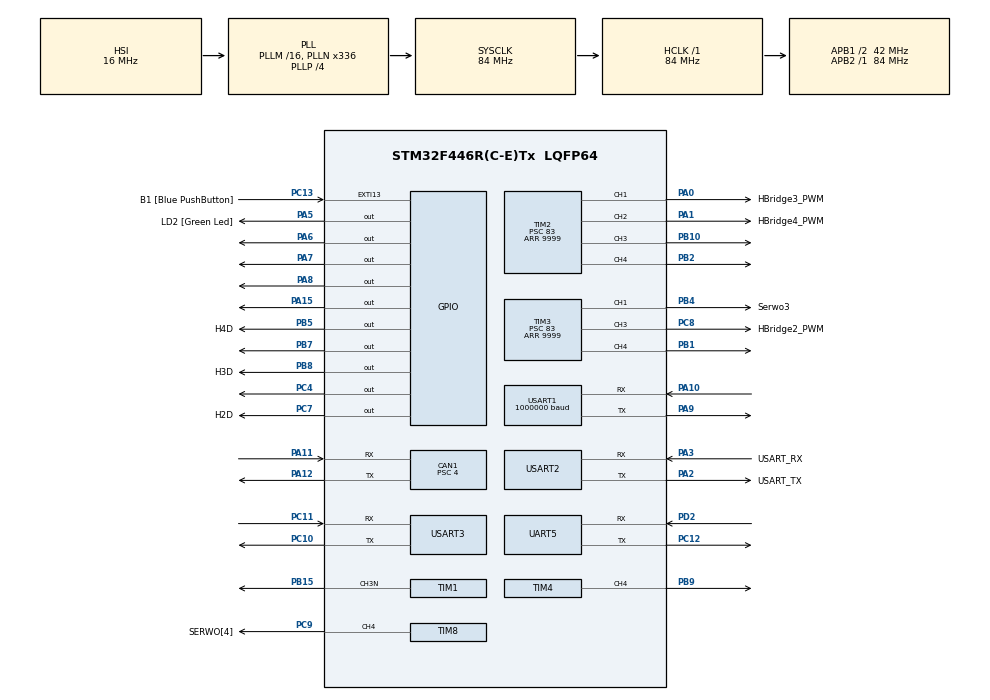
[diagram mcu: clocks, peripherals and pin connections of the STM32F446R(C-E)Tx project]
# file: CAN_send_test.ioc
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CAN1.BS1=CAN_BS1_14TQ
CAN1.BS2=CAN_BS2_6TQ
CAN1.CalculateBaudRate=500000
CAN1.CalculateTimeBit=2000
CAN1.CalculateTimeQuantum=95.23809523809524
CAN1.Mode=CAN_MODE_NORMAL
CAN1.NART=ENABLE
CAN1.Prescaler=4
Mcu.Family=STM32F4
Mcu.Name=STM32F446R(C-E)Tx
Mcu.Package=LQFP64
NVIC.CAN1_RX0_IRQn=true\:0\:0\:false\:false\:true\:true\:true\:true
NVIC.PriorityGroup=NVIC_PRIORITYGROUP_0
NVIC.TIM8_TRG_COM_TIM14_IRQn=true\:0\:0\:false\:false\:true\:true\:true\:true
PA0-WKUP.GPIO_Label=HBridge3_PWM
PA0-WKUP.Signal=S_TIM2_CH1_ETR
PA1.GPIO_Label=HBridge4_PWM
PA1.Signal=S_TIM2_CH2
PA10.Mode=Asynchronous
PA10.Signal=USART1_RX
PA11.Mode=CAN_Activate
PA11.Signal=CAN1_RX
PA12.Mode=CAN_Activate
PA12.Signal=CAN1_TX
PA13.GPIO_Label=TMS
PA13.Mode=Serial_Wire
PA13.Signal=SYS_JTMS-SWDIO
PA14.GPIO_Label=TCK
PA14.Mode=Serial_Wire
PA14.Signal=SYS_JTCK-SWCLK
PA15.Signal=GPIO_Output
PA2.GPIO_Label=USART_TX
PA2.Mode=Asynchronous
PA2.Signal=USART2_TX
PA3.GPIO_Label=USART_RX
PA3.Mode=Asynchronous
PA3.Signal=USART2_RX
PA5.GPIO_Label=LD2 [Green Led]
PA5.Signal=GPIO_Output
PA6.Signal=GPIO_Output
PA7.Signal=GPIO_Output
PA8.Signal=GPIO_Output
PA9.Mode=Asynchronous
PA9.Signal=USART1_TX
PB1.Signal=S_TIM3_CH4
PB10.Signal=S_TIM2_CH3
PB15.Mode=Output Compare3 CH3N
PB15.Signal=TIM1_CH3N
PB2.Signal=S_TIM2_CH4
PB3.GPIO_Label=SWO
PB3.Signal=SYS_JTDO-SWO
PB4.GPIO_Label=Serwo3
PB4.Signal=S_TIM3_CH1
PB5.GPIO_Label=H4D
PB5.Signal=GPIO_Output
PB7.Signal=GPIO_Output
PB8.GPIO_Label=H3D
PB8.Signal=GPIO_Output
PB9.Signal=S_TIM4_CH4
PC10.Mode=Asynchronous
PC10.Signal=USART3_TX
PC11.Mode=Asynchronous
PC11.Signal=USART3_RX
PC12.Mode=Asynchronous
PC12.Signal=UART5_TX
PC13.GPIO_Label=B1 [Blue PushButton]
PC13.GPIO_ModeDefaultEXTI=GPIO_MODE_IT_FALLING
PC13.Signal=GPXTI13
PC14-OSC32_IN.Mode=LSE-External-Oscillator
PC14-OSC32_IN.Signal=RCC_OSC32_IN
PC15-OSC32_OUT.Mode=LSE-External-Oscillator
PC15-OSC32_OUT.Signal=RCC_OSC32_OUT
PC4.Signal=GPIO_Output
PC7.GPIO_Label=H2D
PC7.Signal=GPIO_Output
PC8.GPIO_Label=HBridge2_PWM
PC8.Signal=S_TIM3_CH3
PC9.GPIO_Label=SERWO[4]
PC9.Signal=S_TIM8_CH4
PD2.Mode=Asynchronous
PD2.Signal=UART5_RX
PH0-OSC_IN.Mode=HSE-External-Oscillator
PH0-OSC_IN.Signal=RCC_OSC_IN
PH1-OSC_OUT.Mode=HSE-External-Oscillator
PH1-OSC_OUT.Signal=RCC_OSC_OUT
ProjectManager.HeapSize=0x200
ProjectManager.StackSize=0x400
ProjectManager.TargetToolchain=STM32CubeIDE
RCC.48MHZClocksFreq_Value=84000000
RCC.AHBFreq_Value=84000000
RCC.APB1CLKDivider=RCC_HCLK_DIV2
RCC.APB1Freq_Value=42000000
RCC.APB1TimFreq_Value=84000000
RCC.APB2Freq_Value=84000000
RCC.APB2TimFreq_Value=84000000
RCC.CortexFreq_Value=84000000
RCC.FLatency-AdvancedSettings=FLASH_LATENCY_2
RCC.HCLKFreq_Value=84000000
RCC.HSE_VALUE=8000000
RCC.HSI_VALUE=16000000
RCC.PLLN=336
RCC.PLLP=RCC_PLLP_DIV4
RCC.SYSCLKFreq_VALUE=84000000
RCC.SYSCLKSource=RCC_SYSCLKSOURCE_PLLCLK
RCC.USBFreq_Value=168000000
RCC.VCOOutputFreq_Value=336000000
SH.S_TIM2_CH1_ETR.0=TIM2_CH1,PWM Generation1 CH1
SH.S_TIM2_CH2.0=TIM2_CH2,PWM Generation2 CH2
SH.S_TIM2_CH3.0=TIM2_CH3,PWM Generation3 CH3
SH.S_TIM2_CH4.0=TIM2_CH4,PWM Generation4 CH4
SH.S_TIM3_CH1.0=TIM3_CH1,PWM Generation1 CH1
SH.S_TIM3_CH3.0=TIM3_CH3,PWM Generation3 CH3
SH.S_TIM3_CH4.0=TIM3_CH4,PWM Generation4 CH4
SH.S_TIM4_CH4.0=TIM4_CH4,PWM Generation4 CH4
SH.S_TIM8_CH4.0=TIM8_CH4,PWM Generation4 CH4
TIM1.Channel-Output\ Compare3\ CH3N=TIM_CHANNEL_3
TIM1.Period=9999
TIM1.Prescaler=83
TIM14.Period=99
TIM14.Prescaler=8999
TIM2.Channel-PWM\ Generation1\ CH1=TIM_CHANNEL_1
TIM2.Channel-PWM\ Generation2\ CH2=TIM_CHANNEL_2
TIM2.Channel-PWM\ Generation3\ CH3=TIM_CHANNEL_3
TIM2.Channel-PWM\ Generation4\ CH4=TIM_CHANNEL_4
TIM2.Period=9999
TIM2.Prescaler=83
TIM3.Channel-PWM\ Generation1\ CH1=TIM_CHANNEL_1
TIM3.Channel-PWM\ Generation3\ CH3=TIM_CHANNEL_3
TIM3.Channel-PWM\ Generation4\ CH4=TIM_CHANNEL_4
TIM3.Period=9999
TIM3.Prescaler=83
TIM4.Channel-PWM\ Generation4\ CH4=TIM_CHANNEL_4
TIM4.Period=9999
TIM4.Prescaler=83
TIM8.Channel-PWM\ Generation4\ CH4=TIM_CHANNEL_4
TIM8.Period=9999
TIM8.Prescaler=83
UART5.VirtualMode=Asynchronous
USART1.BaudRate=1000000
USART1.VirtualMode=VM_ASYNC
USART2.VirtualMode=VM_ASYNC
USART3.VirtualMode=VM_ASYNC
VP_TIM14_VS_ClockSourceINT.Mode=Enable_Timer
VP_TIM2_VS_ClockSourceINT.Mode=Internal
VP_TIM3_VS_ClockSourceINT.Mode=Internal
VP_TIM4_VS_ClockSourceINT.Mode=Internal
VP_TIM8_VS_ClockSourceINT.Mode=Internal
board=NUCLEO-F446RE

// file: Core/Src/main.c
/* USER CODE BEGIN Header */
/**
  ******************************************************************************
  * @file           : main.c
  * @brief          : Main program body
  ******************************************************************************
  * @attention
  *
  * Copyright (c) 2026 STMicroelectronics.
  * All rights reserved.
  *
  * This software is licensed under terms that can be found in the LICENSE file
  * in the root directory of this software component.
  * If no LICENSE file comes with this software, it is provided AS-IS.
  *
  ******************************************************************************
  */
/* USER CODE END Header */
#include "main.h"
#include "can.h"
#include "tim.h"
#include "usart.h"
#include "gpio.h"

/* USER CODE BEGIN Includes */
#include <stdlib.h> // Wymagane do funkcji abs() (wartość bezwzględna) używanej w sterowaniu silnikami
#include <stdbool.h> // Wymagane dla logiki bool z oryginalnego kodu
/* USER CODE END Includes */

/* USER CODE BEGIN PTD */
typedef struct {
    uint8_t id;
    GPIO_TypeDef *step_port;   uint16_t step_pin;
    GPIO_TypeDef *dir_port;    uint16_t dir_pin;
    GPIO_TypeDef *en_port;     uint16_t en_pin;
    UART_HandleTypeDef *huart;
    volatile int32_t steps_to_go;
    uint32_t speed_cnt;
    uint32_t speed_reload;
    bool step_state;
} StepperTMC_t;
/* USER CODE END PTD */

/* USER CODE BEGIN PD */
// --- TMC STEPPERS ---
#define TMC_REG_GCONF      0x00
#define TMC_REG_IHOLD_IRUN 0x10
#define TMC_REG_CHOPCONF   0x6C
#define TMC_ADDRESS        0x00

// --- WAVESHARE / ST3215 BUS SERVO DEFINES ---
#define INST_WRITE          0x03
#define SMS_STS_ACC         41
#define STS_POS_MIN         0
#define STS_POS_MAX         4095
#define STS_DEFAULT_SPEED   2000
#define STS_DEFAULT_ACC     50
/* USER CODE END PD */

/* USER CODE BEGIN PV */
// --- ZMIENNE DO WYSYŁKI ---
CAN_TxHeaderTypeDef TxHeader;  // Struktura nagłówka ramki CAN
uint8_t TxData[8];             // Tablica z danymi (8 bajtów)
uint32_t TxMailbox;            // Zmienna przechowująca przypisany mailbox

// --- ZMIENNE DO ODBIORU ---
CAN_RxHeaderTypeDef RxHeader;  // Struktura nagłówka ramki odebranej
uint8_t RxData[8];             // Tablica na odebrane dane
volatile uint32_t RxCounter = 0; // Licznik odebranych ramek

// --- NOWE ZMIENNE DLA RGB ---
volatile uint8_t LED_R = 255;
volatile uint8_t LED_G = 0;
volatile uint8_t LED_B = 0;

// --- NOWE ZMIENNE DLA SILNIKÓW (ID 0x201) ---
volatile int8_t motor_1 = 0;
volatile int8_t motor_2 = 0;
volatile int8_t motor_3 = 0;
volatile int8_t motor_4 = 0;

// --- NOWE ZMIENNE DLA SERW PWM (ID 0x202) ---
volatile uint8_t servo_1 = 90;
volatile uint8_t servo_2 = 90;
volatile uint8_t servo_3 = 90;
volatile uint8_t servo_4 = 90;

// --- NOWE ZMIENNE DLA SERW UART (ID 0x204) ---
volatile uint8_t uart_servo_id = 0;
volatile uint16_t uart_servo_angle = 0;
uint16_t g = 0;

// --- FLAGI DLA FUNKCJI BLOKUJĄCYCH W PĘTLI GŁÓWNEJ ---
volatile uint8_t flag_new_tmc_cmd = 0;
volatile uint8_t flag_new_uart_servo_cmd = 0;

// --- ZMIENNA DO WATCHDOGA CAN ---
volatile uint32_t last_can_rx_time = 0;

StepperTMC_t tmc1;
StepperTMC_t tmc2;

// --- NOWE ZMIENNE DLA DRIVERÓW TMC (ID 0x203) ---
volatile uint8_t  tmc_id = 0;
volatile int32_t  tmc_steps = 0;
volatile uint8_t  tmc_direction = 0;
volatile uint16_t tmc_speed_reload = 0;

TIM_HandleTypeDef htim5;

/* USER CODE END PV */

void SystemClock_Config(void);
/* USER CODE BEGIN PFP */
void MX_TIM5_Init_Custom(void);
/* USER CODE END PFP */

/* USER CODE BEGIN 0 */
void MX_TIM5_Init_Custom(void)
{
  TIM_ClockConfigTypeDef sClockSourceConfig = {0};
  TIM_MasterConfigTypeDef sMasterConfig = {0};

  htim5.Instance = TIM5;
  htim5.Init.Prescaler = 83;
  htim5.Init.CounterMode = TIM_COUNTERMODE_UP;
  htim5.Init.Period = 100;
  htim5.Init.ClockDivision = TIM_CLOCKDIVISION_DIV1;
  htim5.Init.AutoReloadPreload = TIM_AUTORELOAD_PRELOAD_DISABLE;
  if (HAL_TIM_Base_Init(&htim5) != HAL_OK)
  {
    Error_Handler();
  }
  sClockSourceConfig.ClockSource = TIM_CLOCKSOURCE_INTERNAL;
  if (HAL_TIM_ConfigClockSource(&htim5, &sClockSourceConfig) != HAL_OK)
  {
    Error_Handler();
  }
  sMasterConfig.MasterOutputTrigger = TIM_TRGO_RESET;
  sMasterConfig.MasterSlaveMode = TIM_MASTERSLAVEMODE_DISABLE;
  if (HAL_TIMEx_MasterConfigSynchronization(&htim5, &sMasterConfig) != HAL_OK)
  {
    Error_Handler();
  }

  // Włączamy taktowanie TIM5 w RCC
  __HAL_RCC_TIM5_CLK_ENABLE();

  // Włączamy przerwania w NVIC
  HAL_NVIC_SetPriority(TIM5_IRQn, 0, 0);
  HAL_NVIC_EnableIRQ(TIM5_IRQn);
}

// Funkcja aktualizująca jasność diod RGB na podstawie danych odebranych z magistrali CAN
void Update_RGB_LEDs(void)
{
    // Maksymalna wartość koloru przychodząca z CAN to 255.
    // Nasze timery PWM pracują w zakresie od 0 do 9999 (co daje rozdzielczość 10000 kroków).
    // Przeliczamy (skalujemy) wartość 0-255 na 0-5000 (limit 50% mocy ze względów bezpieczeństwa).

    // Czerwony i Niebieski są na zwykłych kanałach PWM - im wyższa liczba, tym jaśniej.
    uint32_t pulse_r = (LED_R * 5000) / 255;
    uint32_t pulse_b = (LED_B * 5000) / 255;

    // Zielony jest na kanale KOMPLEMENTARNYM (TIM1_CH3N). Logika jest ODWRÓCONA.
    // 100% wypełnienia z głównego timera = 0% na pinie. 50% = 50%.
    // Dlatego od maksimum (10000) odejmujemy wyliczoną wartość, by zgaszone LED_G=0 dało 0V na wyjściu.
    uint32_t pulse_g = 10000 - ((LED_G * 5000) / 255);

    // Aktualizacja rejestrów CCR (Capture/Compare Register) timerów, co fizycznie zmienia szerokość impulsu PWM (Duty Cycle)
    __HAL_TIM_SET_COMPARE(&htim3, TIM_CHANNEL_4, pulse_r);
    __HAL_TIM_SET_COMPARE(&htim1, TIM_CHANNEL_3, pulse_g);
    __HAL_TIM_SET_COMPARE(&htim2, TIM_CHANNEL_4, pulse_b);
}

// Funkcja sterująca mostkami H (silnikami prądu stałego DC)
void Update_DC_Motors(void)
{
    // Silnik 1 (m0)
    HAL_GPIO_WritePin(GPIOB, GPIO_PIN_5, motor_1 >= 0 ? GPIO_PIN_SET : GPIO_PIN_RESET);
    __HAL_TIM_SET_COMPARE(&htim2, TIM_CHANNEL_2, abs(motor_1) * 100);

    // Silnik 2 (m1)
    HAL_GPIO_WritePin(GPIOB, GPIO_PIN_8, motor_2 >= 0 ? GPIO_PIN_SET : GPIO_PIN_RESET);
    __HAL_TIM_SET_COMPARE(&htim2, TIM_CHANNEL_1, abs(motor_2) * 100);

    // Silnik 3 (m2)
    HAL_GPIO_WritePin(GPIOC, GPIO_PIN_7, motor_3 >= 0 ? GPIO_PIN_SET : GPIO_PIN_RESET);
    __HAL_TIM_SET_COMPARE(&htim3, TIM_CHANNEL_3, abs(motor_3) * 100);

    // Silnik 4 (m3)
    HAL_GPIO_WritePin(GPIOC, GPIO_PIN_5, motor_4 >= 0 ? GPIO_PIN_SET : GPIO_PIN_RESET);
    __HAL_TIM_SET_COMPARE(&htim4, TIM_CHANNEL_1, abs(motor_4) * 100);
}

// Funkcja aktualizująca wychylenie klasycznych serwomechanizmów (PWM)
void Update_PWM_Servos(void)
{
    // Dzięki temu, że Timer tyka dokładnie 1 milion razy na sekundę (1 MHz),
    // jedna jednostka w rejestrze PWM to równo 1 mikrosekunda (1 us) w czasie rzeczywistym.
    // Standardowe serwa pracują w impulsach od 500 us (0 stopni) do 2400 us (180 stopni).
    // Poniższa matematyka to po prostu funkcja liniowa mapująca kąt 0-180 na mikrosekundy 500-2400.

    uint32_t pulse_s1 = 500 + (servo_1 * (2400 - 500) / 180);
    uint32_t pulse_s2 = 500 + (servo_2 * (2400 - 500) / 180);
    uint32_t pulse_s3 = 500 + (servo_3 * (2400 - 500) / 180);
    uint32_t pulse_s4 = 500 + (servo_4 * (2400 - 500) / 180);

    // Wysłanie wyliczonych mikrosekund bezpośrednio do odpowiednich timerów i kanałów przypisanych serwom
    __HAL_TIM_SET_COMPARE(&htim4, TIM_CHANNEL_4, pulse_s1);
    __HAL_TIM_SET_COMPARE(&htim2, TIM_CHANNEL_3, pulse_s2);
    __HAL_TIM_SET_COMPARE(&htim3, TIM_CHANNEL_1, pulse_s3);
    __HAL_TIM_SET_COMPARE(&htim8, TIM_CHANNEL_4, pulse_s4);
}

// ==========================================================
// ===== ZAAWANSOWANE SERWA UART (WAVESHARE ST3215) =========
// ==========================================================

// Rozkładamy 16 bitów na dwa oddzielne bajty (Little Endian)
void Host2Servo(uint8_t *dataL, uint8_t *dataH, uint16_t data) {
  *dataL = (data & 0xFF);
  *dataH = ((data >> 8) & 0xFF);
}

// Suma kontrolna zapobiegająca przekłamaniom na kablu
uint8_t ServoCalculateChecksum(uint8_t *buffer, uint8_t len) {
  uint8_t sum = 0;
  for (uint8_t i = 0; i < len; i++) sum += buffer[i];
  return ~sum;
}

// Budowa fizycznej ramki polecenia (Pakiet UART)
void ServoWritePosition(uint8_t id, uint16_t position, uint16_t speed, uint8_t acc)
{
  uint8_t txBuf[14];
  uint8_t posL, posH, spdL, spdH;

  Host2Servo(&posL, &posH, position);
  Host2Servo(&spdL, &spdH, speed);

  txBuf[0] = 0xFF; // Header
  txBuf[1] = 0xFF; // Header
  txBuf[2] = id;   // ID

  // Length = Parameters + 2
  // Parametry: Addr(1) + Acc(1) + Pos(2) + Time(2) + Speed(2) = 8 bajtów
  // Length = 8 + 2 = 10 (0x0A)
  txBuf[3] = 0x0A;

  txBuf[4] = INST_WRITE;
  txBuf[5] = SMS_STS_ACC; // Start Address (41) - Przyspieszenie
  txBuf[6] = acc;         // P41
  txBuf[7] = posL;        // P42 (Goal Pos Low)
  txBuf[8] = posH;        // P43 (Goal Pos High)
  txBuf[9] = 0x00;        // P44 (Time Low - 0 oznacza ruch bazowany na prędkości)
  txBuf[10] = 0x00;       // P45 (Time High)
  txBuf[11] = spdL;       // P46 (Speed Low)
  txBuf[12] = spdH;       // P47 (Speed High)

  // Checksum liczone od ID do końca danych
  txBuf[13] = ServoCalculateChecksum(&txBuf[2], 11);

  // ZWRÓĆ UWAGĘ: Timeout 20ms sprawia, że jest to kod silnie "blokujący" czas.
  HAL_UART_Transmit(&huart1, txBuf, 14, 20);
}

// Funkcja aktywująca "trzymanie" i gotowość do ruchu (Torque Enable)
void ServoEnableTorque(uint8_t id, uint8_t enable)
{
  uint8_t txBuf[8];
  txBuf[0] = 0xFF;
  txBuf[1] = 0xFF;
  txBuf[2] = id;
  txBuf[3] = 0x04; // Length: Addr(1) + Val(1) + 2 = 4
  txBuf[4] = INST_WRITE;
  txBuf[5] = 40;   // Address 40 (Torque Enable)
  txBuf[6] = enable ? 1 : 0;
  txBuf[7] = ServoCalculateChecksum(&txBuf[2], 5);
  HAL_UART_Transmit(&huart1, txBuf, 8, 10);
}

// Wywoływane z pętli while(1), bezpiecznie sprawdza, czy przyszła flaga z przerwania CAN.
void Process_Bus_Servo_Command(void)
{
    if (flag_new_uart_servo_cmd)
    {
        flag_new_uart_servo_cmd = 0; // Kasujemy flagę

        // Atomowy odczyt współdzielonych zmiennych
        __disable_irq();
        uint8_t local_id = uart_servo_id;
        uint16_t local_angle = uart_servo_angle;
        __enable_irq();

        // Jeśli wysyłasz ID = 0 z ROSa, domyślnie serwa Waveshare mają ID = 1.
        // Używamy 0xFE (Broadcast), żeby "złapało" każde podpięte serwo bez względu na jego własne ID.
        if (local_id == 0) {
            local_id = 0xFE;
        }

        // Ustawiamy sztywne, bezpieczne ramy (mapowanie 0-180 na kroki 0-2047, ponieważ pełny zakres 4095 to 360 stopni)
        uint16_t target_pos = (uint16_t)((local_angle * STS_POS_MAX) / 360);

        // Aktywujemy moment obrotowy (aby serwo mogło się ruszać i trzymać pozycję)
        ServoEnableTorque(local_id, 1);

        // Zabezpieczenie przed przepełnieniem buforów i kolizjami sygnału
        HAL_Delay(1);

        // Wysyłamy polecenie ruchu (używamy huart1)
        ServoWritePosition(local_id, target_pos, STS_DEFAULT_SPEED, STS_DEFAULT_ACC);
    }
}

// ==========================================================
// ===== SILNIKI KROKOWE (STEROWNIKI TMC po UART) ===========
// ==========================================================

uint8_t calcCRC(uint8_t *datagram, uint8_t len) {
    uint8_t crc = 0;
    for (uint8_t i = 0; i < len; i++) {
        uint8_t currentByte = datagram[i];
        for (uint8_t j = 0; j < 8; j++) {
            if ((crc >> 7) ^ (currentByte & 0x01)) crc = (crc << 1) ^ 0x07;
            else crc = (crc << 1);
            currentByte = currentByte >> 1;
        }
    }
    return crc;
}

void TMC_Write(UART_HandleTypeDef *huart, uint8_t reg, uint32_t data) {
    uint8_t frame[8];
    frame[0] = 0x05; frame[1] = TMC_ADDRESS; frame[2] = reg | 0x80;
    frame[3] = (data >> 24) & 0xFF; frame[4] = (data >> 16) & 0xFF;
    frame[5] = (data >> 8) & 0xFF;  frame[6] = data & 0xFF;
    frame[7] = calcCRC(frame, 7);
    HAL_UART_Transmit(huart, frame, 8, 10);
}

void TMC_Hardware_Init(StepperTMC_t *tmc) {
    // Aktywacja układu i wgranie konfiguracji GCONF
    HAL_GPIO_WritePin(tmc->en_port, tmc->en_pin, GPIO_PIN_RESET);
    HAL_Delay(10);
    TMC_Write(tmc->huart, TMC_REG_GCONF, 0x000000C1);
}

void Process_TMC_Command(void)
{
    if (flag_new_tmc_cmd)
    {
        flag_new_tmc_cmd = 0; // Kasujemy flagę

        // Atomowy odczyt zmiennych z CAN
        __disable_irq();
        uint8_t local_id = tmc_id;
        uint8_t local_dir = tmc_direction;
        uint16_t local_reload = tmc_speed_reload;
        int32_t local_steps = tmc_steps;
        __enable_irq();

        StepperTMC_t *target = NULL;
        if (local_id == 1) target = &tmc1;
        else if (local_id == 2) target = &tmc2;

        if (target != NULL) {
            // 1. Ustawiamy DIR Pin sprzętowo (obrót w lewo/prawo)
            HAL_GPIO_WritePin(target->dir_port, target->dir_pin, local_dir ? GPIO_PIN_SET : GPIO_PIN_RESET);

            // 2. Transmitujemy konfigurację CHOPCONF (UART) - twardo na profil stealthChop jak w oryginale
            TMC_Write(target->huart, TMC_REG_CHOPCONF, 0x10000053);

            // 3. Atomowe zapisanie nowych parametrów docelowych (używane przez TIM5_IRQHandler)
            __disable_irq();
            target->speed_reload = local_reload;
            target->steps_to_go = local_steps;
            __enable_irq();
        }
    }
}

// Funkcja sprawdzająca utratę połączenia z głównym komputerem (Watchdog)
void Check_CAN_Timeout(void)
{
    // Zabezpieczenie: jeśli od ponad 1000 milisekund (1 sekundy) nie przyszła
    // żadna nowa wiadomość CAN, natychmiast zerujemy wysterowanie układów ruchomych.

    // --- FUNKCJA ZAKOMENTOWANA NA PROŚBĘ UŻYTKOWNIKA (DO TESTÓW) ---
    // Aby z powrotem włączyć bezpiecznik po utracie sygnału, po prostu usuń /* i */.

    /*
    if ((HAL_GetTick() - last_can_rx_time) > 1000)
    {
        // Wyłączamy silniki główne (H-Bridge)
        motor_1 = 0;
        motor_2 = 0;
        motor_3 = 0;
        motor_4 = 0;

        // Zatrzymujemy silniki krokowe TMC
        tmc_steps = 0;
        tmc_speed_reload = 0;

        // Ustawiamy "awaryjny" kolor LED na czerwony
        LED_R = 255;
        LED_G = 0;
        LED_B = 0;
    }
    */
}

/* USER CODE END 0 */

int main(void)
{

  /* MCU Configuration--------------------------------------------------------*/

  /* Reset of all peripherals, Initializes the Flash interface and the Systick. */
  HAL_Init();

  /* Configure the system clock */
  SystemClock_Config();

  /* Initialize all configured peripherals */
  MX_GPIO_Init();
  MX_USART2_UART_Init();
  MX_CAN1_Init();
  MX_TIM14_Init();
  MX_TIM2_Init();
  MX_USART1_UART_Init();
  MX_USART3_UART_Init();
  MX_UART5_Init();
  MX_TIM1_Init();
  MX_TIM3_Init();
  MX_TIM4_Init();
  MX_TIM8_Init();
  /* USER CODE BEGIN 2 */

  // --- RESTRYKCYJNA KONFIGURACJA FILTRA TYLKO DLA ZAKRESU 0x200 - 0x207 ---
    CAN_FilterTypeDef sFilterConfig;
    sFilterConfig.FilterBank = 0;
    sFilterConfig.FilterMode = CAN_FILTERMODE_IDMASK;
    sFilterConfig.FilterScale = CAN_FILTERSCALE_16BIT;

    // [OKNO 1] Obsługuje zakres peryferiów 0x200 - 0x207
    sFilterConfig.FilterIdHigh = (0x200 << 5);
    sFilterConfig.FilterMaskIdHigh = (0x7F8 << 5); // Maska 0x7F8 pilnuje, by bity pasowały do 0x20X

    // [OKNO 2] Kopiujemy dokładnie to samo ustawienie, aby zamknąć "otwartą bramkę"
    // Dzięki temu dolna część filtra nie przepuści przypadkowych ramek (np. 0x100)
    sFilterConfig.FilterIdLow = (0x200 << 5);
    sFilterConfig.FilterMaskIdLow = (0x7F8 << 5);

    sFilterConfig.FilterFIFOAssignment = CAN_FILTER_FIFO0;
    sFilterConfig.FilterActivation = ENABLE;
    sFilterConfig.SlaveStartFilterBank = 14;

  /*// --- KONFIGURACJA FILTRA SPRZĘTOWEGO (TYLKO ID 0x100) ---
    CAN_FilterTypeDef sFilterConfig;
    sFilterConfig.FilterBank = 0;
    sFilterConfig.FilterMode = CAN_FILTERMODE_IDLIST;
    sFilterConfig.FilterScale = CAN_FILTERSCALE_32BIT;
    sFilterConfig.FilterIdHigh = (0x100 << 5); // Akceptujemy wyłącznie ID: 0x100
    sFilterConfig.FilterIdLow = 0x0000;
    sFilterConfig.FilterMaskIdHigh = (0x100 << 5);
    sFilterConfig.FilterMaskIdLow = 0x0000;
    sFilterConfig.FilterFIFOAssignment = CAN_FILTER_FIFO0;
    sFilterConfig.FilterActivation = ENABLE;
    sFilterConfig.SlaveStartFilterBank = 14;*/

    if (HAL_CAN_ConfigFilter(&hcan1, &sFilterConfig) != HAL_OK)
    {
       Error_Handler();
    }

    // 1. Konfiguracja struktury ramki nadawczej CAN
    TxHeader.DLC = 8;
    TxHeader.IDE = CAN_ID_STD;
    TxHeader.RTR = CAN_RTR_DATA;
    TxHeader.StdId = 0x210;               // <--- ZMIENIONE Z 0x123 NA 0x100!
    TxHeader.TransmitGlobalTime = DISABLE;

    // 2. Wypełnienie bufora danych samymi jedynkami (0xFF)
    for(int i = 0; i < 8; i++)
    {
        TxData[i] = 0xFF;
    }

    // 3. Start modułu CAN
    if (HAL_CAN_Start(&hcan1) != HAL_OK)
    {
        Error_Handler();
    }

    // 4. Włączenie przerwań odbioru
    HAL_CAN_ActivateNotification(&hcan1, CAN_IT_RX_FIFO0_MSG_PENDING);
    HAL_CAN_ActivateNotification(&hcan1, CAN_IT_ERROR);
    HAL_CAN_ActivateNotification(&hcan1, CAN_IT_BUSOFF);
    HAL_CAN_ActivateNotification(&hcan1, CAN_IT_TX_MAILBOX_EMPTY);

    // === URUCHOMIENIE GENERACJI SPRZĘTOWEJ PWM ===
    // Aby mikrokontroler wysyłał sygnał na piny, musimy fizycznie aktywować generację PWM
    // dla wszystkich używanych Timerów i przypisanych do nich kanałów.

    // PWM dla LED RGB
    HAL_TIM_PWM_Start(&htim3, TIM_CHANNEL_4); // RED
    HAL_TIM_PWM_Start(&htim1, TIM_CHANNEL_3); // GREEN
    HAL_TIMEx_PWMN_Start(&htim1, TIM_CHANNEL_3); // GREEN (Complementary pin)
    HAL_TIM_PWM_Start(&htim2, TIM_CHANNEL_4); // BLUE

    // PWM dla mostków H i Serwomechanizmów
    HAL_TIM_PWM_Start(&htim4, TIM_CHANNEL_4);
    HAL_TIM_PWM_Start(&htim2, TIM_CHANNEL_2);
    HAL_TIM_PWM_Start(&htim2, TIM_CHANNEL_1);
    HAL_TIM_PWM_Start(&htim3, TIM_CHANNEL_3);
    HAL_TIM_PWM_Start(&htim4, TIM_CHANNEL_1);
    HAL_TIM_PWM_Start(&htim8, TIM_CHANNEL_4);
    HAL_TIM_PWM_Start(&htim2, TIM_CHANNEL_3);
    HAL_TIM_PWM_Start(&htim3, TIM_CHANNEL_1);

    // Start Timer-a bazowego, który zgłasza przerwania (u nas docelowo co 10ms)
    // UWAGA: Obecnie jego prescaler w tim.c wynosi 8999, co daje ~10.7ms. By było to równo 10ms, prescaler powinien wynosić 8399.
    HAL_TIM_Base_Start_IT(&htim14);

    // === INICJALIZACJA STRUKTUR TMC ===
    // Wpisujemy tu piny z CubeIDE, które przypisałeś dla TMC (tak jak było w starym pliku)
    tmc1 = (StepperTMC_t){.id=1, .step_port=GPIOA, .step_pin=GPIO_PIN_15, .dir_port=GPIOB, .dir_pin=GPIO_PIN_7, .en_port=GPIOC, .en_pin=GPIO_PIN_4, .huart=&huart3};
    tmc2 = (StepperTMC_t){.id=2, .step_port=GPIOA, .step_pin=GPIO_PIN_6,  .dir_port=GPIOA, .dir_pin=GPIO_PIN_7, .en_port=GPIOA, .en_pin=GPIO_PIN_8, .huart=&huart5};

    // Start komunikacji sprzętowej z TMC (ustawienie GCONF po UART)
    TMC_Hardware_Init(&tmc1);
    TMC_Hardware_Init(&tmc2);

    MX_TIM5_Init_Custom();
    HAL_TIM_Base_Start_IT(&htim5);

  /* USER CODE END 2 */

  /* Infinite loop */
  /* USER CODE BEGIN WHILE */
  while (1)
  {
      // Obsługa flag komunikacyjnych (przeniesiona z przerwań do pętli głównej).
      // Funkcje UART Transmit mają timeouty oparte na HAL_GetTick(). Wywoływanie ich z przerwania
      // o tym samym priorytecie co SysTick (Priorytet 0) powodowało zablokowanie inkrementacji
      // HAL_GetTick(), przez co timeouty nigdy nie wygasały (System zawieszał się na zawsze!).
      // W pętli głównej SysTick działa poprawnie, więc układ nigdy się nie zawiesi.
      Process_Bus_Servo_Command();
      Process_TMC_Command();

    /* USER CODE END WHILE */

  }
}

void SystemClock_Config(void)
{
  RCC_OscInitTypeDef RCC_OscInitStruct = {0};
  RCC_ClkInitTypeDef RCC_ClkInitStruct = {0};

  /** Configure the main internal regulator output voltage
  */
  __HAL_RCC_PWR_CLK_ENABLE();
  __HAL_PWR_VOLTAGESCALING_CONFIG(PWR_REGULATOR_VOLTAGE_SCALE3);

  /** Initializes the RCC Oscillators according to the specified parameters
  * in the RCC_OscInitTypeDef structure.
  */
  RCC_OscInitStruct.OscillatorType = RCC_OSCILLATORTYPE_HSI;
  RCC_OscInitStruct.HSIState = RCC_HSI_ON;
  RCC_OscInitStruct.HSICalibrationValue = RCC_HSICALIBRATION_DEFAULT;
  RCC_OscInitStruct.PLL.PLLState = RCC_PLL_ON;
  RCC_OscInitStruct.PLL.PLLSource = RCC_PLLSOURCE_HSI;
  RCC_OscInitStruct.PLL.PLLM = 16;
  RCC_OscInitStruct.PLL.PLLN = 336;
  RCC_OscInitStruct.PLL.PLLP = RCC_PLLP_DIV4;
  RCC_OscInitStruct.PLL.PLLQ = 2;
  RCC_OscInitStruct.PLL.PLLR = 2;
  if (HAL_RCC_OscConfig(&RCC_OscInitStruct) != HAL_OK)
  {
    Error_Handler();
  }

  /** Initializes the CPU, AHB and APB buses clocks
  */
  RCC_ClkInitStruct.ClockType = RCC_CLOCKTYPE_HCLK|RCC_CLOCKTYPE_SYSCLK
                              |RCC_CLOCKTYPE_PCLK1|RCC_CLOCKTYPE_PCLK2;
  RCC_ClkInitStruct.SYSCLKSource = RCC_SYSCLKSOURCE_PLLCLK;
  RCC_ClkInitStruct.AHBCLKDivider = RCC_SYSCLK_DIV1;
  RCC_ClkInitStruct.APB1CLKDivider = RCC_HCLK_DIV2;
  RCC_ClkInitStruct.APB2CLKDivider = RCC_HCLK_DIV1;

  if (HAL_RCC_ClockConfig(&RCC_ClkInitStruct, FLASH_LATENCY_2) != HAL_OK)
  {
    Error_Handler();
  }
}

/* USER CODE BEGIN 4 */
void HAL_CAN_RxFifo0MsgPendingCallback(CAN_HandleTypeDef *hcan)
{
    while (HAL_CAN_GetRxFifoFillLevel(hcan, CAN_RX_FIFO0) > 0)
    {
        if (HAL_CAN_GetRxMessage(hcan, CAN_RX_FIFO0, &RxHeader, RxData) == HAL_OK)
        {
            // Kopiujemy ID do lokalnej zmiennej, zapobiegając problemom z optymalizacją rejestrów przez kompilator
        	volatile uint16_t received_id = RxHeader.StdId;
            g = received_id;
            // Mignięcie diodą na płytce przy odebraniu JAKIEJKOLWIEK ramki, która przeszła przez filtr
            HAL_GPIO_TogglePin(LD2_GPIO_Port, LD2_Pin);

            // --- ZAPIS ZNACZNIKA CZASU (WATCHDOG) ---
            // Odnotowujemy dokładny czas (w milisekundach) nadejścia ostatniej poprawnej ramki
            last_can_rx_time = HAL_GetTick();

            // Klasyczna drabina IF-ELSE zamiast SWITCH
            if (received_id == 0x200) // --- RGB LED ---
            {
                LED_R = RxData[0];
                LED_G = RxData[1];
                LED_B = RxData[2];
            }
            else if (received_id == 0x201) // --- /Hbridge (Silniki DC) ---
            {
            	// Rzutujemy tablicę uint8_t na int8_t, żeby obsługiwać wartości ujemne
            	int8_t *signed_data = (int8_t*)RxData;

            	motor_1 = signed_data[0]; // Wartość od -100 do 100
                motor_2 = signed_data[1];
            	motor_3 = signed_data[2];
                motor_4 = signed_data[3];
            }
            else if (received_id == 0x202) // --- /Serwa (Standardowe PWM) ---
            {
            	servo_1 = RxData[0];
            	servo_2 = RxData[1];
                servo_3 = RxData[2];
            	servo_4 = RxData[3];

            	// Zabezpieczenie programowe, żeby nie przekroczyć 180 stopni
            	if (servo_1 > 180) servo_1 = 180;
            	if (servo_2 > 180) servo_2 = 180;
            	if (servo_3 > 180) servo_3 = 180;
            	if (servo_4 > 180) servo_4 = 180;
            }
            else if (received_id == 0x203) // --- /tmc_cmd (Driver TMC) ---
            {
            	// 1. Pobranie ID sterownika (1 bajt)
                tmc_id = RxData[0];

                // 2. Składanie 32-bitowej liczby kroków (Bajty 1, 2, 3, 4 - Little Endian)
                tmc_steps = (int32_t)RxData[1]         |
                ((int32_t)RxData[2] << 8)  |
                ((int32_t)RxData[3] << 16) |
                ((int32_t)RxData[4] << 24);

                // 3. Pobranie kierunku (1 bajt)
                tmc_direction = RxData[5];

                // 4. Składanie 16-bitowej prędkości/reload (Bajty 6, 7 - Little Endian)
                tmc_speed_reload = (uint16_t)RxData[6] | ((uint16_t)RxData[7] << 8);

                // --- USTAWIENIE FLAGI DLA PĘTLI GŁÓWNEJ ---
                flag_new_tmc_cmd = 1;
            }
            else if (received_id == 0x204) // --- /serwoUART (Bus Servo 0-180) ---
            {
            	// Pobieramy ID serwa (1 bajt)
                uart_servo_id = RxData[0];

                // Składamy kąt 16-bitowy z dwóch bajtów (Little Endian: najpierw młodszy, potem starszy)
                uart_servo_angle = (uint16_t)RxData[1] | ((uint16_t)RxData[2] << 8);

                // Zabezpieczenie programowe przed przekroczeniem fizycznej bariery!
                // Mechanika blokuje się na ~180 stopniach. Ograniczamy do 170, żeby serwo nie uderzyło w "ścianę" i nie weszło w błąd zasilania.
                if (uart_servo_angle > 170) uart_servo_angle = 170;

                // --- USTAWIENIE FLAGI DLA PĘTLI GŁÓWNEJ ---
                flag_new_uart_servo_cmd = 1;
            }
            else if (received_id == 0x205) // --- Przyszłościowe ID ---
            {

            }
        }
        else
        {
            // BARDZO WAŻNE: Jeśli wystąpi błąd sprzętowy CAN i GetRxMessage zwróci błąd (HAL_ERROR),
            // musimy przerwać pętlę, inaczej FIFO Fill Level zawsze będzie > 0,
            // a procesor wpadnie w morderczą, nieskończoną pętlę zawieszając cały system!
            break;
        }
    }
}
void HAL_TIM_PeriodElapsedCallback(TIM_HandleTypeDef *htim)
{
    if (htim->Instance == TIM5)
    {
        StepperTMC_t *motors[2] = {&tmc1, &tmc2};
        for(int i=0; i<2; i++) {
            if (motors[i]->steps_to_go > 0) {
                motors[i]->speed_cnt++;
                if (motors[i]->speed_cnt >= motors[i]->speed_reload) {
                    motors[i]->step_state = !motors[i]->step_state;
                    HAL_GPIO_WritePin(motors[i]->step_port, motors[i]->step_pin, motors[i]->step_state ? GPIO_PIN_SET : GPIO_PIN_RESET);
                    motors[i]->speed_cnt = 0;
                    if(!motors[i]->step_state) motors[i]->steps_to_go--;
                }
            }
        }
    }

    if (htim->Instance == TIM14)
    {
    	static uint16_t cnt = 0;
    	cnt++;
    	// Tutaj wpisujemy rzeczy, które mają się wykonać przy każdym przerwaniu (ok. 10ms).
        // Wywołujemy nasze funkcje, by hardware gładko i cyklicznie aktualizował piny na podstawie tego, co odebrał CAN.
        // Niezależnie od obciążenia pętli głównej (while), te polecenia wykonają się zawsze "na czas".
        Update_RGB_LEDs();
        Update_DC_Motors();
        Update_PWM_Servos();
        Check_CAN_Timeout(); // Zabezpieczenie przed ucieczką również wywoływane niezawodnie z timera!

    	if (cnt % 5 == 0)//tutaj wpisać rzeczy które mają sie wykonać co 50ms
    	{
    		// Pozostawione puste - obsługa komend przeniesiona do while(1)
    		// aby zapobiec deadlockom (blokowaniu HAL_GetTick() wewnątrz przerwania).
   		}
    	if (cnt % 10 == 0)//tutaj wpisać rzeczy które mają sie wykonać co 100ms
    	{
    		// Sprawdzenie, czy w peryferium CAN jest wolne miejsce n	a nadanie nowej wiadomości
    		if (HAL_CAN_GetTxMailboxesFreeLevel(&hcan1) > 0)
            {
    		    // Wysłanie ramki
    		    if (HAL_CAN_AddTxMessage(&hcan1, &TxHeader, TxData, &TxMailbox) != HAL_OK)
    		    {
    		    	/* Obsługa błędu nadawania (np. brak fizycznego połączenia z inną jednostką w trybie Normal) */
    		    }
    		}
    	}
    	if (cnt % 100 == 0)//tutaj wpisać rzeczy które mają sie wykonać co 1000ms
    	{

    	}
    	if (cnt >= 200)//tutaj wpisać rzeczy które mają sie wykonać co 2000ms
    	{
    		cnt = 0;

    	}
    }
}
/* USER CODE END 4 */

void Error_Handler(void)
{
  __disable_irq();
  while (1)
  {
  }
}
